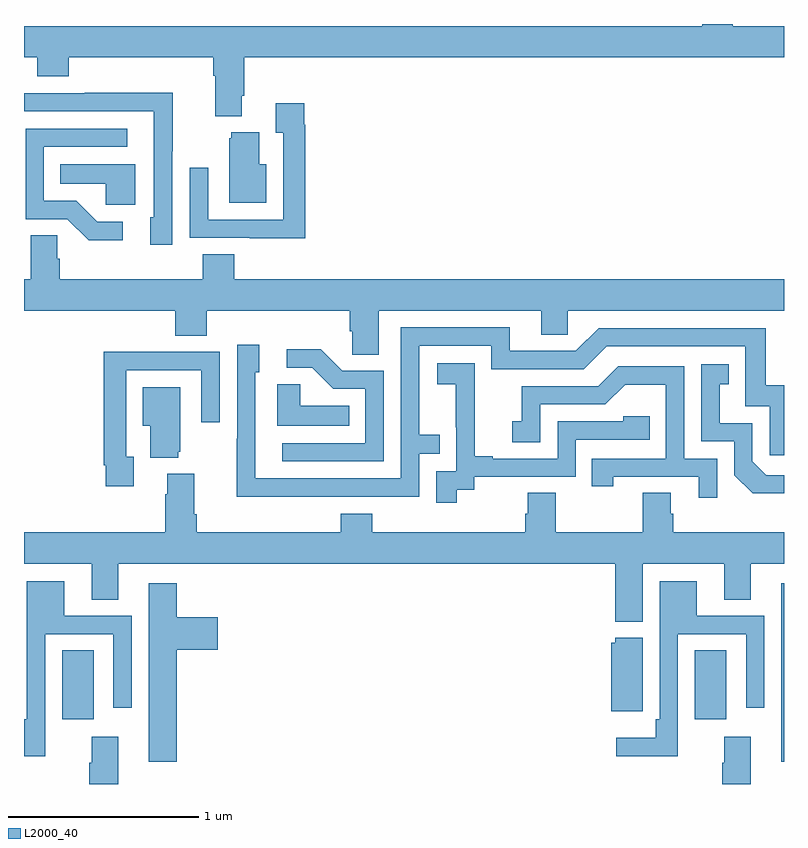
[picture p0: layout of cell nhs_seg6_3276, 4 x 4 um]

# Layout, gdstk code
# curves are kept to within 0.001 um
import gdstk
lib = gdstk.Library(unit=1e-6, precision=1e-09)
def R(c, l, rs):  # rectangles x0, y0, x1, y1
    for r in rs: c.add(gdstk.rectangle(r[:2], r[2:], *l))
def P(c, l, *ps):  # polygons
    for p in ps: c.add(gdstk.Polygon(p, *l))
L2000_40 = (2000, 40)

nhs_seg6_3276 = lib.new_cell('nhs_seg6_3276')
R(nhs_seg6_3276, L2000_40, [(306.986,955.617,307,956.557), (303.2,955.842,303.367,956.204), (306.53,955.842,306.697,956.204)])
P(nhs_seg6_3276, L2000_40, [(304.147,959.122),(304.16,959.122),(304.16,959.324),(307,959.324),(307,959.488),(306.729,959.488),(306.729,959.5),(306.569,959.5),(306.569,959.488),(303,959.488),(303,959.324),(303.071,959.324),(303.071,959.225),(303.236,959.225),(303.236,959.324),(303.995,959.324),(303.995,959.228),(304.007,959.228),(304.007,959.015),(304.147,959.015)],
  [(303.78,958.831),(303.783,958.831),(303.783,959.138),(303.319,959.138),(303.319,959.136),(303,959.136),(303,959.04),(303.683,959.04),(303.683,958.786),(303.684,958.786),(303.684,958.482),(303.665,958.482),(303.665,958.338),(303.78,958.338)],
  [(304.481,958.97),(304.474,958.97),(304.474,959.083),(304.325,959.083),(304.325,958.927),(304.365,958.927),(304.365,958.47),(303.969,958.47),(303.969,958.744),(303.873,958.744),(303.873,958.374),(304.189,958.374),(304.189,958.373),(304.481,958.373)],
  [(303.52,958.458),(303.385,958.458),(303.274,958.569),(303.105,958.569),(303.105,958.854),(303.544,958.854),(303.544,958.95),(303.009,958.95),(303.009,958.473),(303.228,958.473),(303.341,958.361),(303.52,958.361)],
  [(304.276,958.762),(304.237,958.762),(304.237,958.93),(304.091,958.93),(304.091,958.899),(304.079,958.899),(304.079,958.559),(304.276,958.559)],
  [(303.586,958.762),(303.19,958.762),(303.19,958.658),(303.429,958.658),(303.429,958.55),(303.586,958.55)],
  [(304.867,957.992),(305.723,957.992),(305.723,957.865),(305.862,957.865),(305.862,957.992),(307,957.992),(307,958.156),(304.106,958.156),(304.106,958.289),(303.941,958.289),(303.941,958.156),(303.188,958.156),(303.188,958.265),(303.174,958.265),(303.174,958.388),(303.035,958.388),(303.035,958.156),(303,958.156),(303,957.992),(303.797,957.992),(303.797,957.859),(303.962,957.859),(303.962,957.992),(304.715,957.992),(304.715,957.883),(304.728,957.883),(304.728,957.76),(304.867,957.76)],
  [(304.583,957.012),(305.079,957.012),(305.079,957.237),(305.189,957.237),(305.189,957.338),(305.079,957.338),(305.079,957.807),(305.46,957.807),(305.46,957.684),(305.946,957.684),(306.066,957.804),(306.795,957.804),(306.795,957.489),(306.924,957.489),(306.924,957.231),(307,957.231),(307,957.598),(306.904,957.598),(306.904,957.9),(306.024,957.9),(305.904,957.78),(305.557,957.78),(305.557,957.903),(304.983,957.903),(304.983,957.108),(304.218,957.108),(304.218,957.666),(304.237,957.666),(304.237,957.811),(304.122,957.811),(304.122,957.317),(304.12,957.317),(304.12,957.011)],
  [(304.893,957.675),(304.674,957.675),(304.561,957.788),(304.383,957.788),(304.383,957.69),(304.517,957.69),(304.628,957.579),(304.797,957.579),(304.797,957.294),(304.359,957.294),(304.359,957.198),(304.893,957.198)],
  [(303.577,957.222),(303.537,957.222),(303.537,957.678),(303.933,957.678),(303.933,957.405),(304.029,957.405),(304.029,957.774),(303.713,957.774),(303.713,957.776),(303.421,957.776),(303.421,957.178),(303.429,957.178),(303.429,957.066),(303.577,957.066)],
  [(305.278,957.049),(305.37,957.049),(305.37,957.117),(305.904,957.117),(305.904,957.312),(306.293,957.312),(306.293,957.435),(306.153,957.435),(306.153,957.408),(305.808,957.408),(305.808,957.213),(305.467,957.213),(305.467,957.226),(305.372,957.226),(305.372,957.509),(305.373,957.509),(305.373,957.715),(305.175,957.715),(305.175,957.605),(305.273,957.605),(305.273,957.377),(305.274,957.377),(305.274,957.147),(305.169,957.147),(305.169,956.979),(305.278,956.979)],
  [(307,957.126),(306.906,957.126),(306.834,957.198),(306.834,957.399),(306.661,957.399),(306.661,957.603),(306.71,957.603),(306.71,957.709),(306.564,957.709),(306.564,957.303),(306.738,957.303),(306.738,957.126),(306.836,957.029),(307,957.029)],
  [(306.648,957.213),(306.474,957.213),(306.474,957.699),(306.128,957.699),(306.023,957.594),(305.62,957.594),(305.62,957.409),(305.571,957.409),(305.571,957.3),(305.718,957.3),(305.718,957.498),(306.06,957.498),(306.164,957.602),(306.378,957.602),(306.378,957.213),(305.989,957.213),(305.989,957.066),(306.1,957.066),(306.1,957.117),(306.551,957.117),(306.551,957.006),(306.648,957.006)],
  [(304.712,957.49),(304.455,957.49),(304.455,957.605),(304.334,957.605),(304.334,957.386),(304.712,957.386)],
  [(303.812,957.249),(303.823,957.249),(303.823,957.589),(303.626,957.589),(303.626,957.386),(303.665,957.386),(303.665,957.218),(303.812,957.218)],
  [(306.256,956.66),(306.686,956.66),(306.686,956.47),(306.826,956.47),(306.826,956.66),(307,956.66),(307,956.824),(306.416,956.824),(306.416,956.922),(306.403,956.922),(306.403,957.032),(306.256,957.032),(306.256,956.824),(305.799,956.824),(305.799,957.032),(305.651,957.032),(305.651,956.922),(305.639,956.922),(305.639,956.824),(304.832,956.824),(304.832,956.923),(304.667,956.923),(304.667,956.824),(303.908,956.824),(303.908,956.92),(303.895,956.92),(303.895,957.133),(303.755,957.133),(303.755,957.026),(303.743,957.026),(303.743,956.824),(303,956.824),(303,956.66),(303.356,956.66),(303.356,956.47),(303.496,956.47),(303.496,956.66),(306.113,956.66),(306.113,956.354),(306.256,956.354)],
  [(306.441,956.289),(306.801,956.289),(306.801,955.902),(306.897,955.902),(306.897,956.385),(306.541,956.385),(306.541,956.566),(306.345,956.566),(306.345,955.84),(306.325,955.84),(306.325,955.744),(306.117,955.744),(306.117,955.646),(306.441,955.646)],
  [(303.111,956.289),(303.471,956.289),(303.471,955.902),(303.567,955.902),(303.567,956.385),(303.211,956.385),(303.211,956.566),(303.015,956.566),(303.015,955.84),(303,955.84),(303,955.646),(303.111,955.646)],
  [(303.803,956.207),(304.021,956.207),(304.021,956.377),(303.803,956.377),(303.803,956.557),(303.656,956.557),(303.656,955.617),(303.803,955.617)],
  [(306.256,956.269),(306.111,956.269),(306.111,956.244),(306.092,956.244),(306.092,955.883),(306.256,955.883)],
  [(303.496,955.75),(303.356,955.75),(303.356,955.613),(303.344,955.613),(303.344,955.5),(303.496,955.5)],
  [(306.826,955.75),(306.686,955.75),(306.686,955.613),(306.674,955.613),(306.674,955.5),(306.826,955.5)])

lib.write_gds('nhs_seg6_3276.gds')
